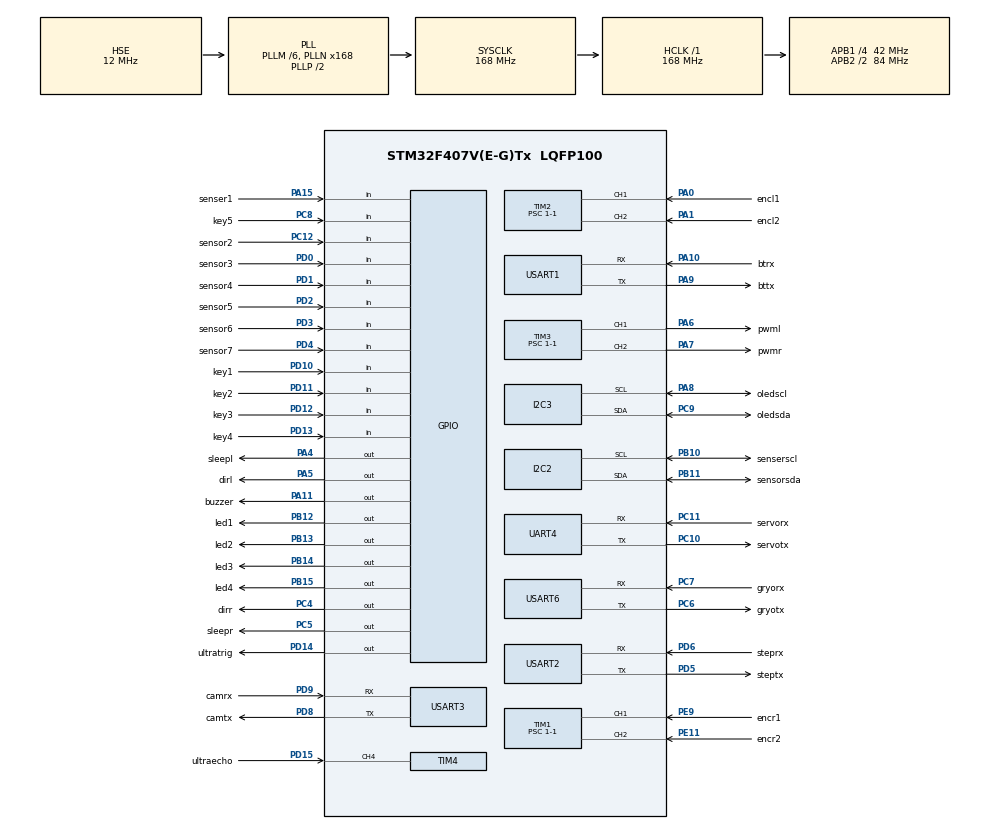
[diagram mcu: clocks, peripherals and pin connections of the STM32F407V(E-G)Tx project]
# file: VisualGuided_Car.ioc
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Dma.I2C2_RX.7.Direction=DMA_PERIPH_TO_MEMORY
Dma.I2C2_RX.7.FIFOMode=DMA_FIFOMODE_DISABLE
Dma.I2C2_RX.7.Instance=DMA1_Stream2
Dma.I2C2_RX.7.MemDataAlignment=DMA_MDATAALIGN_BYTE
Dma.I2C2_RX.7.MemInc=DMA_MINC_ENABLE
Dma.I2C2_RX.7.Mode=DMA_NORMAL
Dma.I2C2_RX.7.PeriphDataAlignment=DMA_PDATAALIGN_BYTE
Dma.I2C2_RX.7.PeriphInc=DMA_PINC_DISABLE
Dma.I2C2_RX.7.Priority=DMA_PRIORITY_LOW
Dma.I2C2_TX.6.Direction=DMA_MEMORY_TO_PERIPH
Dma.I2C2_TX.6.FIFOMode=DMA_FIFOMODE_DISABLE
Dma.I2C2_TX.6.Instance=DMA1_Stream7
Dma.I2C2_TX.6.MemDataAlignment=DMA_MDATAALIGN_BYTE
Dma.I2C2_TX.6.MemInc=DMA_MINC_ENABLE
Dma.I2C2_TX.6.Mode=DMA_NORMAL
Dma.I2C2_TX.6.PeriphDataAlignment=DMA_PDATAALIGN_BYTE
Dma.I2C2_TX.6.PeriphInc=DMA_PINC_DISABLE
Dma.I2C2_TX.6.Priority=DMA_PRIORITY_HIGH
Dma.Request0=USART1_RX
Dma.Request1=USART1_TX
Dma.Request2=USART3_RX
Dma.Request3=USART3_TX
Dma.Request4=USART6_RX
Dma.Request5=USART6_TX
Dma.Request6=I2C2_TX
Dma.Request7=I2C2_RX
Dma.USART1_RX.0.Direction=DMA_PERIPH_TO_MEMORY
Dma.USART1_RX.0.FIFOMode=DMA_FIFOMODE_DISABLE
Dma.USART1_RX.0.Instance=DMA2_Stream2
Dma.USART1_RX.0.MemDataAlignment=DMA_MDATAALIGN_BYTE
Dma.USART1_RX.0.MemInc=DMA_MINC_ENABLE
Dma.USART1_RX.0.Mode=DMA_NORMAL
Dma.USART1_RX.0.PeriphDataAlignment=DMA_PDATAALIGN_BYTE
Dma.USART1_RX.0.PeriphInc=DMA_PINC_DISABLE
Dma.USART1_RX.0.Priority=DMA_PRIORITY_MEDIUM
Dma.USART1_TX.1.Direction=DMA_MEMORY_TO_PERIPH
Dma.USART1_TX.1.FIFOMode=DMA_FIFOMODE_DISABLE
Dma.USART1_TX.1.Instance=DMA2_Stream7
Dma.USART1_TX.1.MemDataAlignment=DMA_MDATAALIGN_BYTE
Dma.USART1_TX.1.MemInc=DMA_MINC_ENABLE
Dma.USART1_TX.1.Mode=DMA_NORMAL
Dma.USART1_TX.1.PeriphDataAlignment=DMA_PDATAALIGN_BYTE
Dma.USART1_TX.1.PeriphInc=DMA_PINC_DISABLE
Dma.USART1_TX.1.Priority=DMA_PRIORITY_MEDIUM
Dma.USART3_RX.2.Direction=DMA_PERIPH_TO_MEMORY
Dma.USART3_RX.2.FIFOMode=DMA_FIFOMODE_DISABLE
Dma.USART3_RX.2.Instance=DMA1_Stream1
Dma.USART3_RX.2.MemDataAlignment=DMA_MDATAALIGN_BYTE
Dma.USART3_RX.2.MemInc=DMA_MINC_ENABLE
Dma.USART3_RX.2.Mode=DMA_NORMAL
Dma.USART3_RX.2.PeriphDataAlignment=DMA_PDATAALIGN_BYTE
Dma.USART3_RX.2.PeriphInc=DMA_PINC_DISABLE
Dma.USART3_RX.2.Priority=DMA_PRIORITY_HIGH
Dma.USART3_TX.3.Direction=DMA_MEMORY_TO_PERIPH
Dma.USART3_TX.3.FIFOMode=DMA_FIFOMODE_DISABLE
Dma.USART3_TX.3.Instance=DMA1_Stream3
Dma.USART3_TX.3.MemDataAlignment=DMA_MDATAALIGN_BYTE
Dma.USART3_TX.3.MemInc=DMA_MINC_ENABLE
Dma.USART3_TX.3.Mode=DMA_NORMAL
Dma.USART3_TX.3.PeriphDataAlignment=DMA_PDATAALIGN_BYTE
Dma.USART3_TX.3.PeriphInc=DMA_PINC_DISABLE
Dma.USART3_TX.3.Priority=DMA_PRIORITY_HIGH
Dma.USART6_RX.4.Direction=DMA_PERIPH_TO_MEMORY
Dma.USART6_RX.4.FIFOMode=DMA_FIFOMODE_DISABLE
Dma.USART6_RX.4.Instance=DMA2_Stream1
Dma.USART6_RX.4.MemDataAlignment=DMA_MDATAALIGN_BYTE
Dma.USART6_RX.4.MemInc=DMA_MINC_ENABLE
Dma.USART6_RX.4.Mode=DMA_NORMAL
Dma.USART6_RX.4.PeriphDataAlignment=DMA_PDATAALIGN_BYTE
Dma.USART6_RX.4.PeriphInc=DMA_PINC_DISABLE
Dma.USART6_RX.4.Priority=DMA_PRIORITY_VERY_HIGH
Dma.USART6_TX.5.Direction=DMA_MEMORY_TO_PERIPH
Dma.USART6_TX.5.FIFOMode=DMA_FIFOMODE_DISABLE
Dma.USART6_TX.5.Instance=DMA2_Stream6
Dma.USART6_TX.5.MemDataAlignment=DMA_MDATAALIGN_BYTE
Dma.USART6_TX.5.MemInc=DMA_MINC_ENABLE
Dma.USART6_TX.5.Mode=DMA_NORMAL
Dma.USART6_TX.5.PeriphDataAlignment=DMA_PDATAALIGN_BYTE
Dma.USART6_TX.5.PeriphInc=DMA_PINC_DISABLE
Dma.USART6_TX.5.Priority=DMA_PRIORITY_VERY_HIGH
IWDG.Prescaler=IWDG_PRESCALER_32
IWDG.Reload=500
Mcu.Family=STM32F4
Mcu.Name=STM32F407V(E-G)Tx
Mcu.Package=LQFP100
NVIC.DMA1_Stream1_IRQn=true\:0\:0\:false\:false\:true\:false\:true\:true
NVIC.DMA1_Stream2_IRQn=true\:0\:0\:false\:false\:true\:false\:true\:true
NVIC.DMA1_Stream3_IRQn=true\:0\:0\:false\:false\:true\:false\:true\:true
NVIC.DMA1_Stream7_IRQn=true\:0\:0\:false\:false\:true\:false\:true\:true
NVIC.DMA2_Stream1_IRQn=true\:0\:0\:false\:false\:true\:false\:true\:true
NVIC.DMA2_Stream2_IRQn=true\:0\:0\:false\:false\:true\:false\:true\:true
NVIC.DMA2_Stream6_IRQn=true\:0\:0\:false\:false\:true\:false\:true\:true
NVIC.DMA2_Stream7_IRQn=true\:0\:0\:false\:false\:true\:false\:true\:true
NVIC.I2C2_ER_IRQn=true\:2\:1\:true\:false\:true\:true\:true\:true
NVIC.I2C2_EV_IRQn=true\:2\:1\:true\:false\:true\:true\:true\:true
NVIC.I2C3_ER_IRQn=true\:2\:2\:true\:false\:true\:true\:true\:true
NVIC.I2C3_EV_IRQn=true\:2\:2\:true\:false\:true\:true\:true\:true
NVIC.PriorityGroup=NVIC_PRIORITYGROUP_2
NVIC.TIM1_UP_TIM10_IRQn=true\:3\:0\:true\:false\:true\:true\:true\:true
NVIC.TIM2_IRQn=true\:3\:0\:true\:false\:true\:true\:true\:true
NVIC.TIM4_IRQn=true\:2\:0\:true\:false\:true\:true\:true\:true
NVIC.TIM6_DAC_IRQn=true\:0\:0\:false\:false\:true\:true\:true\:true
NVIC.UART4_IRQn=true\:1\:2\:true\:false\:true\:true\:true\:true
NVIC.USART1_IRQn=true\:1\:3\:true\:false\:true\:true\:true\:true
NVIC.USART2_IRQn=true\:1\:2\:true\:false\:true\:true\:true\:true
NVIC.USART3_IRQn=true\:1\:1\:true\:false\:true\:true\:true\:true
NVIC.USART6_IRQn=true\:1\:0\:true\:false\:true\:true\:true\:true
PA0-WKUP.GPIO_Label=encl1
PA0-WKUP.Signal=S_TIM2_CH1_ETR
PA1.GPIO_Label=encl2
PA1.Signal=S_TIM2_CH2
PA10.GPIO_Label=btrx
PA10.Mode=Asynchronous
PA10.Signal=USART1_RX
PA11.GPIO_Label=buzzer
PA11.Signal=GPIO_Output
PA13.Mode=Serial_Wire
PA13.Signal=SYS_JTMS-SWDIO
PA14.Mode=Serial_Wire
PA14.Signal=SYS_JTCK-SWCLK
PA15.GPIO_Label=senser1
PA15.Signal=GPIO_Input
PA4.GPIO_Label=sleepl
PA4.PinState=GPIO_PIN_SET
PA4.Signal=GPIO_Output
PA5.GPIO_Label=dirl
PA5.Signal=GPIO_Output
PA6.GPIO_Label=pwml
PA6.Signal=S_TIM3_CH1
PA7.GPIO_Label=pwmr
PA7.Signal=S_TIM3_CH2
PA8.GPIO_Label=oledscl
PA8.Mode=I2C
PA8.Signal=I2C3_SCL
PA9.GPIO_Label=bttx
PA9.Mode=Asynchronous
PA9.Signal=USART1_TX
PB10.GPIO_Label=senserscl
PB10.Mode=I2C
PB10.Signal=I2C2_SCL
PB11.GPIO_Label=sensorsda
PB11.Mode=I2C
PB11.Signal=I2C2_SDA
PB12.GPIO_Label=led1
PB12.Signal=GPIO_Output
PB13.GPIO_Label=led2
PB13.Signal=GPIO_Output
PB14.GPIO_Label=led3
PB14.Signal=GPIO_Output
PB15.GPIO_Label=led4
PB15.Signal=GPIO_Output
PC10.GPIO_Label=servotx
PC10.Mode=Asynchronous
PC10.Signal=UART4_TX
PC11.GPIO_Label=servorx
PC11.Mode=Asynchronous
PC11.Signal=UART4_RX
PC12.GPIO_Label=sensor2
PC12.Signal=GPIO_Input
PC4.GPIO_Label=dirr
PC4.Signal=GPIO_Output
PC5.GPIO_Label=sleepr
PC5.PinState=GPIO_PIN_SET
PC5.Signal=GPIO_Output
PC6.GPIO_Label=gryotx
PC6.Mode=Asynchronous
PC6.Signal=USART6_TX
PC7.GPIO_Label=gryorx
PC7.Mode=Asynchronous
PC7.Signal=USART6_RX
PC8.GPIO_Label=key5
PC8.Signal=GPIO_Input
PC9.GPIO_Label=oledsda
PC9.Mode=I2C
PC9.Signal=I2C3_SDA
PD0.GPIO_Label=sensor3
PD0.Signal=GPIO_Input
PD1.GPIO_Label=sensor4
PD1.Signal=GPIO_Input
PD10.GPIO_Label=key1
PD10.Signal=GPIO_Input
PD11.GPIO_Label=key2
PD11.Signal=GPIO_Input
PD12.GPIO_Label=key3
PD12.Signal=GPIO_Input
PD13.GPIO_Label=key4
PD13.Signal=GPIO_Input
PD14.GPIO_Label=ultratrig
PD14.Signal=GPIO_Output
PD15.GPIO_Label=ultraecho
PD15.Signal=S_TIM4_CH4
PD2.GPIO_Label=sensor5
PD2.Signal=GPIO_Input
PD3.GPIO_Label=sensor6
PD3.Signal=GPIO_Input
PD4.GPIO_Label=sensor7
PD4.Signal=GPIO_Input
PD5.GPIO_Label=steptx
PD5.Mode=Asynchronous
PD5.Signal=USART2_TX
PD6.GPIO_Label=steprx
PD6.Mode=Asynchronous
PD6.Signal=USART2_RX
PD8.GPIO_Label=camtx
PD8.Mode=Asynchronous
PD8.Signal=USART3_TX
PD9.GPIO_Label=camrx
PD9.Mode=Asynchronous
PD9.Signal=USART3_RX
PE11.GPIO_Label=encr2
PE11.Signal=S_TIM1_CH2
PE9.GPIO_Label=encr1
PE9.Signal=S_TIM1_CH1
PH0-OSC_IN.Mode=HSE-External-Oscillator
PH0-OSC_IN.Signal=RCC_OSC_IN
PH1-OSC_OUT.Mode=HSE-External-Oscillator
PH1-OSC_OUT.Signal=RCC_OSC_OUT
ProjectManager.HeapSize=0x200
ProjectManager.StackSize=0x400
ProjectManager.TargetToolchain=CMake
RCC.48MHZClocksFreq_Value=84000000
RCC.AHBFreq_Value=168000000
RCC.APB1CLKDivider=RCC_HCLK_DIV4
RCC.APB1Freq_Value=42000000
RCC.APB1TimFreq_Value=84000000
RCC.APB2CLKDivider=RCC_HCLK_DIV2
RCC.APB2Freq_Value=84000000
RCC.APB2TimFreq_Value=168000000
RCC.CortexFreq_Value=168000000
RCC.HCLKFreq_Value=168000000
RCC.HSE_VALUE=12000000
RCC.HSI_VALUE=16000000
RCC.LSE_VALUE=32768
RCC.PLLM=6
RCC.PLLN=168
RCC.PLLSourceVirtual=RCC_PLLSOURCE_HSE
RCC.SYSCLKFreq_VALUE=168000000
RCC.SYSCLKSource=RCC_SYSCLKSOURCE_PLLCLK
RCC.VCOOutputFreq_Value=336000000
SH.S_TIM1_CH1.0=TIM1_CH1,Encoder_Interface
SH.S_TIM1_CH2.0=TIM1_CH2,Encoder_Interface
SH.S_TIM2_CH1_ETR.0=TIM2_CH1,Encoder_Interface
SH.S_TIM2_CH2.0=TIM2_CH2,Encoder_Interface
SH.S_TIM3_CH1.0=TIM3_CH1,PWM Generation1 CH1
SH.S_TIM3_CH2.0=TIM3_CH2,PWM Generation2 CH2
SH.S_TIM4_CH4.0=TIM4_CH4,Input_Capture4_from_TI4
TIM1.AutoReloadPreload=TIM_AUTORELOAD_PRELOAD_ENABLE
TIM1.EncoderMode=TIM_ENCODERMODE_TI12
TIM1.IC1Filter=0x6
TIM1.IC2Filter=0x6
TIM1.Period=65536-1
TIM1.Prescaler=1-1
TIM2.AutoReloadPreload=TIM_AUTORELOAD_PRELOAD_ENABLE
TIM2.EncoderMode=TIM_ENCODERMODE_TI12
TIM2.IC1Filter=0x6
TIM2.IC2Filter=0x6
TIM2.Prescaler=1-1
TIM3.AutoReloadPreload=TIM_AUTORELOAD_PRELOAD_ENABLE
TIM3.Channel-PWM\ Generation1\ CH1=TIM_CHANNEL_1
TIM3.Channel-PWM\ Generation2\ CH2=TIM_CHANNEL_2
TIM3.Period=8400
TIM3.Prescaler=1-1
TIM4.AutoReloadPreload=TIM_AUTORELOAD_PRELOAD_ENABLE
TIM4.Channel-Input_Capture4_from_TI4=TIM_CHANNEL_4
TIM4.ICPolarity_CH4=TIM_INPUTCHANNELPOLARITY_RISING
TIM4.Prescaler=84-1
TIM6.AutoReloadPreload=TIM_AUTORELOAD_PRELOAD_ENABLE
TIM6.Period=100-1
TIM6.Prescaler=840-1
UART4.VirtualMode=Asynchronous
USART1.VirtualMode=VM_ASYNC
USART2.VirtualMode=VM_ASYNC
USART3.VirtualMode=VM_ASYNC
USART6.VirtualMode=VM_ASYNC
VP_IWDG_VS_IWDG.Mode=IWDG_Activate
VP_TIM6_VS_ClockSourceINT.Mode=Enable_Timer
board=custom

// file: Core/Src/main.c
/* USER CODE BEGIN Header */
/**
  ******************************************************************************
  * @file           : main.c
  * @brief          : Main program body
  ******************************************************************************
  * @attention
  *
  * Copyright (c) 2026 STMicroelectronics.
  * All rights reserved.
  *
  * This software is licensed under terms that can be found in the LICENSE file
  * in the root directory of this software component.
  * If no LICENSE file comes with this software, it is provided AS-IS.
  *
  ******************************************************************************
  */
/* USER CODE END Header */
#include "main.h"
#include "dma.h"
#include "i2c.h"
#include "iwdg.h"
#include "tim.h"
#include "usart.h"
#include "gpio.h"

/* USER CODE BEGIN Includes */
#include "system.h"
#include "error_handler.h"
#include "blueteeth.h"
#include "buzzer.h"
#include "cam.h"
#include "encoder.h"
#include "gyroscope.h"
#include "led.h"
#include "motor.h"
#include "pid.h"
#include "pwm.h"
#include "pattern.h"
#include "sensor.h"
#include "ultrasonic.h"
#include "display.h"
#include "bt_command.h"
#include "motion_control.h"
#include "motion_manager.h"
#include "perception.h"
#include "control_manager.h"
/* USER CODE END Includes */

/* USER CODE BEGIN PD */

/* TIM6 1ms 中断分频阈值，统一管理各模块 tick 周期 */
typedef enum {
    TICK_GYRO_CNT = 1,  /* 陀螺仪 1ms */
    TICK_SENSOR_CNT = 3,  /* 传感器 3ms */
    TICK_DISPLAY_CNT = 5,  /* 显示刷新 5ms */
    TICK_ENCODER_CNT = 10, /* 编码器 10ms */
    TICK_MOTION_CONTROL_CNT = 10, /* 底层闭环 10ms */
    TICK_MOTION_MANAGER_CNT = 10, /* 运动管理 10ms */
    TICK_CONTROL_MANAGER_CNT = 10, /* 总控调度 10ms */
    TICK_SYSTEM_LED_CNT = 50, /* 系统 LED 50ms */
} main_tick_cfg_t;

/* USER CODE END PD */

void SystemClock_Config(void);

int main(void)
{

  /* MCU Configuration--------------------------------------------------------*/

  /* Reset of all peripherals, Initializes the Flash interface and the Systick. */
    HAL_Init();

  /* USER CODE BEGIN Init */
    __HAL_DBGMCU_FREEZE_IWDG();
  /* USER CODE END Init */

  /* Configure the system clock */
    SystemClock_Config();

  /* Initialize all configured peripherals */
    MX_GPIO_Init();
    MX_DMA_Init();
    MX_TIM1_Init();
    MX_TIM2_Init();
    MX_TIM3_Init();
    MX_TIM6_Init();
    MX_USART1_UART_Init();
    MX_USART3_UART_Init();
    MX_USART6_UART_Init();
    MX_I2C2_Init();
    MX_I2C3_Init();
    MX_TIM4_Init();
    MX_UART4_Init();
    MX_USART2_UART_Init();
    MX_IWDG_Init();
  /* USER CODE BEGIN 2 */
    HAL_TIM_Base_Start_IT(&htim6);
    system_init();
  /* USER CODE END 2 */

  /* Infinite loop */
  /* USER CODE BEGIN WHILE */
    while (1) {
        system_state();
        error_handler_task();
        gyro_task();
        ultrasonic_task(system_ultrasonic());
        cam_task();
        sensor_task();
        blueteeth_task();
        display_task();
        control_manager_task();
    /* USER CODE END WHILE */

    }
}

void SystemClock_Config(void)
{
    RCC_OscInitTypeDef RCC_OscInitStruct = {0};
    RCC_ClkInitTypeDef RCC_ClkInitStruct = {0};

  /** Configure the main internal regulator output voltage
  */
    __HAL_RCC_PWR_CLK_ENABLE();
    __HAL_PWR_VOLTAGESCALING_CONFIG(PWR_REGULATOR_VOLTAGE_SCALE1);

  /** Initializes the RCC Oscillators according to the specified parameters
  * in the RCC_OscInitTypeDef structure.
  */
    RCC_OscInitStruct.OscillatorType = RCC_OSCILLATORTYPE_LSI | RCC_OSCILLATORTYPE_HSE;
    RCC_OscInitStruct.HSEState = RCC_HSE_ON;
    RCC_OscInitStruct.LSIState = RCC_LSI_ON;
    RCC_OscInitStruct.PLL.PLLState = RCC_PLL_ON;
    RCC_OscInitStruct.PLL.PLLSource = RCC_PLLSOURCE_HSE;
    RCC_OscInitStruct.PLL.PLLM = 6;
    RCC_OscInitStruct.PLL.PLLN = 168;
    RCC_OscInitStruct.PLL.PLLP = RCC_PLLP_DIV2;
    RCC_OscInitStruct.PLL.PLLQ = 4;
    if (HAL_RCC_OscConfig(&RCC_OscInitStruct) != HAL_OK) {
        Error_Handler();
    }

  /** Initializes the CPU, AHB and APB buses clocks
  */
    RCC_ClkInitStruct.ClockType = RCC_CLOCKTYPE_HCLK | RCC_CLOCKTYPE_SYSCLK |
                                  RCC_CLOCKTYPE_PCLK1 | RCC_CLOCKTYPE_PCLK2;
    RCC_ClkInitStruct.SYSCLKSource = RCC_SYSCLKSOURCE_PLLCLK;
    RCC_ClkInitStruct.AHBCLKDivider = RCC_SYSCLK_DIV1;
    RCC_ClkInitStruct.APB1CLKDivider = RCC_HCLK_DIV4;
    RCC_ClkInitStruct.APB2CLKDivider = RCC_HCLK_DIV2;

    if (HAL_RCC_ClockConfig(&RCC_ClkInitStruct, FLASH_LATENCY_5) != HAL_OK) {
        Error_Handler();
    }
}

/* USER CODE BEGIN 4 */
void HAL_TIM_PeriodElapsedCallback(TIM_HandleTypeDef *htim)
{
    if (htim->Instance == TIM6) {
        static uint8_t system_led_cnt = 0;
        static uint8_t gyro_tick_cnt = 0;
        static uint8_t sensor_tick_cnt = 0;
        static uint8_t encoder_tick_cnt = 0;
        static uint8_t display_tick_cnt = 0;
        static uint8_t motion_control_tick_cnt = 0;
        static uint8_t motion_manager_tick_cnt = 0;
        static uint8_t control_manager_tick_cnt = 0;

    /* 系统运行状态指示灯标志位 */
        system_led_cnt++;
        if (system_led_cnt >= TICK_SYSTEM_LED_CNT) {
            system_led_cnt = 0;
            set_system_led_flag(1);
        }

    /* 陀螺仪数据服务标志位 */
        gyro_tick_cnt++;
        if (gyro_tick_cnt >= TICK_GYRO_CNT) {
            gyro_tick_cnt = 0;
            gyro_tick_flag = 1;
        }

    /* 传感器数据服务标志位 */
        sensor_tick_cnt++;
        if (sensor_tick_cnt >= TICK_SENSOR_CNT) {
            sensor_tick_cnt = 0;
            sensor_tick_flag = 1;
        }

    /* 编码器周期扫描 */
        encoder_tick_cnt++;
        if (encoder_tick_cnt >= TICK_ENCODER_CNT) {
            encoder_tick_cnt = 0;
            encoder_scan_left(&htim2);
            encoder_scan_right(&htim1);
        }

    /* 打印刷新标志位 */
        display_tick_cnt++;
        if (display_tick_cnt >= TICK_DISPLAY_CNT) {
            display_tick_cnt = 0;
            display_refresh_flag = 1;
        }

    /* 底层闭环服务标志位 */
        motion_control_tick_cnt++;
        if (motion_control_tick_cnt >= TICK_MOTION_CONTROL_CNT) {
            motion_control_tick_cnt = 0;
            motion_control_tick_flag = 1;
        }

    /* 运动管理服务标志位 */
        motion_manager_tick_cnt++;
        if (motion_manager_tick_cnt >= TICK_MOTION_MANAGER_CNT) {
            motion_manager_tick_cnt = 0;
            motion_manager_tick_flag = 1;
        }

    /* 总控调度服务标志位 */
        control_manager_tick_cnt++;
        if (control_manager_tick_cnt >= TICK_CONTROL_MANAGER_CNT) {
            control_manager_tick_cnt = 0;
            control_manager_tick_flag = 1;
        }
    }
}

void HAL_UARTEx_RxEventCallback(UART_HandleTypeDef *huart, uint16_t Size)
{
    if (huart->Instance == USART1) {
        blueteeth_rx_callback(huart, Size);
    }

    if (huart->Instance == USART3) {
        cam_rx_callback(huart, Size);
    }

    if (huart->Instance == USART6) {
        gyro_rx_callback(huart, Size);
    }
}

void HAL_UART_TxCpltCallback(UART_HandleTypeDef *huart)
{
    if (huart->Instance == USART1) {
        blueteeth_tx_callback(huart);
    }
}

void HAL_UART_ErrorCallback(UART_HandleTypeDef *huart)
{
    if (huart->Instance == USART6) {
        gyro_error_callback(huart);
    }
}

void HAL_I2C_MemRxCpltCallback(I2C_HandleTypeDef *hi2c)
{
    if (hi2c->Instance == I2C2) {
        sensor_rx_callback(hi2c);
    }
}

void HAL_I2C_ErrorCallback(I2C_HandleTypeDef *hi2c)
{
    if (hi2c->Instance == I2C2) {
        sensor_error_callback(hi2c);
    }
}

void HAL_TIM_IC_CaptureCallback(TIM_HandleTypeDef *htim)
{
    if (htim->Instance == TIM4) {
        ultrasonic_capture_callback(system_ultrasonic(), htim);
    }
}

/* USER CODE END 4 */

void Error_Handler(void)
{
    __disable_irq();
    while (1) {
    }
}
